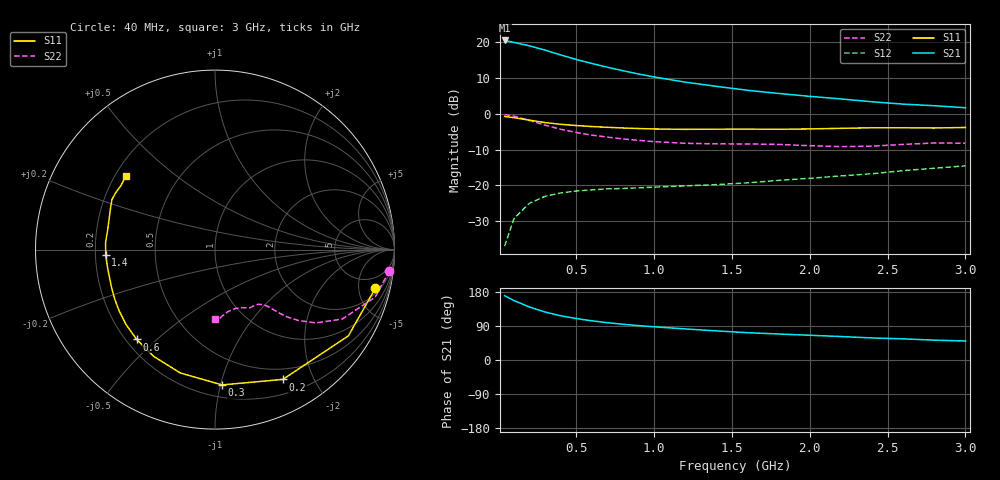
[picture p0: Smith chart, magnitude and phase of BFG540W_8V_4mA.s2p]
! Filename:  BFG540WG.S2P  Version:  4.0
! Philips part #: BFG540  Date: Jun 1994
! Bias condition: Vce=8.0V, Ic=4.0mA
! IN LINE PINNING: same data as with cross emitter pinning.
#  MHz  S  MA  R  50
! Freq  S11  S21  S12  S22  !GUM [dB]
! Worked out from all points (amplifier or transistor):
!   21 points, 40 MHz to 3 GHz, reference 50 ohm
!   highest |S21| = 20.6 dB at 40 MHz (marker M1)
!   |S21| within 3 dB of that: start of sweep to 321.8 MHz
!   unconditionally stable (mu >= 1): 1.47 GHz to end of sweep
!   at 300 MHz: K = 0.23, MSG = 20.5 dB, |S12| = -23.1 dB
!   at 1 GHz: K = 0.76, MSG = 15.4 dB, |S12| = -20.5 dB
!   at 3 GHz: K = 1.12, MAG = 6.1 dB, |S12| = -14.6 dB
!   S11 on the Smith chart (normalised r, x): 40 MHz: 2.71, -7.48; 200 MHz: 0.37, -1.59; 300 MHz: 0.29, -1.01; 600 MHz: 0.24, -0.43; 1.4 GHz: 0.24, -0.02; 3 GHz: 0.24, +0.34
40  0.919 -13.5  10.68 169.7  0.014 81.1  0.979 -6.9
100  0.885 -32.9  10.03 156.9  0.034 70.9  0.931 -16.5
200  0.816 -62.4  8.973 139.8  0.056 57.2  0.808 -28.6
300  0.755 -87.0  7.82 126.6  0.07 48.2  0.695 -36.0
400  0.714 -105.7  6.694 116.7  0.078 43.1  0.609 -40.4
500  0.686 -119.9  5.787 109.4  0.083 40.1  0.548 -43.1
600  0.664 -131.1  5.086 103.4  0.086 39.1  0.504 -44.6
700  0.648 -139.9  4.505 98.5  0.089 38.6  0.472 -45.6
800  0.634 -147.3  4.026 94.4  0.09 38.5  0.446 -46.5
900  0.623 -153.7  3.62 90.7  0.092 39.7  0.425 -47.5
1000  0.614 -159.7  3.287 87.6  0.094 40.8  0.408 -48.6
1200  0.607 -169.6  2.785 82.0  0.098 43.9  0.387 -52.0
1400  0.61 -177.3  2.431 76.8  0.102 47.0  0.38 -55.7
1600  0.611 176.2  2.14 72.1  0.108 51.8  0.379 -58.5
1800  0.608 169.8  1.932 68.6  0.117 54.5  0.373 -60.7
2000  0.615 163.3  1.759 65.3  0.125 58.3  0.358 -64.5
2200  0.627 158.1  1.62 61.9  0.135 61.4  0.347 -70.7
2400  0.638 154.2  1.477 58.2  0.145 65.1  0.353 -78.2
2600  0.638 150.4  1.369 55.8  0.16 67.3  0.373 -83.9
2800  0.634 145.8  1.3 52.4  0.173 68.3  0.391 -87.0
3000  0.645 140.4  1.218 50.1  0.187 70.1  0.388 -89.8
